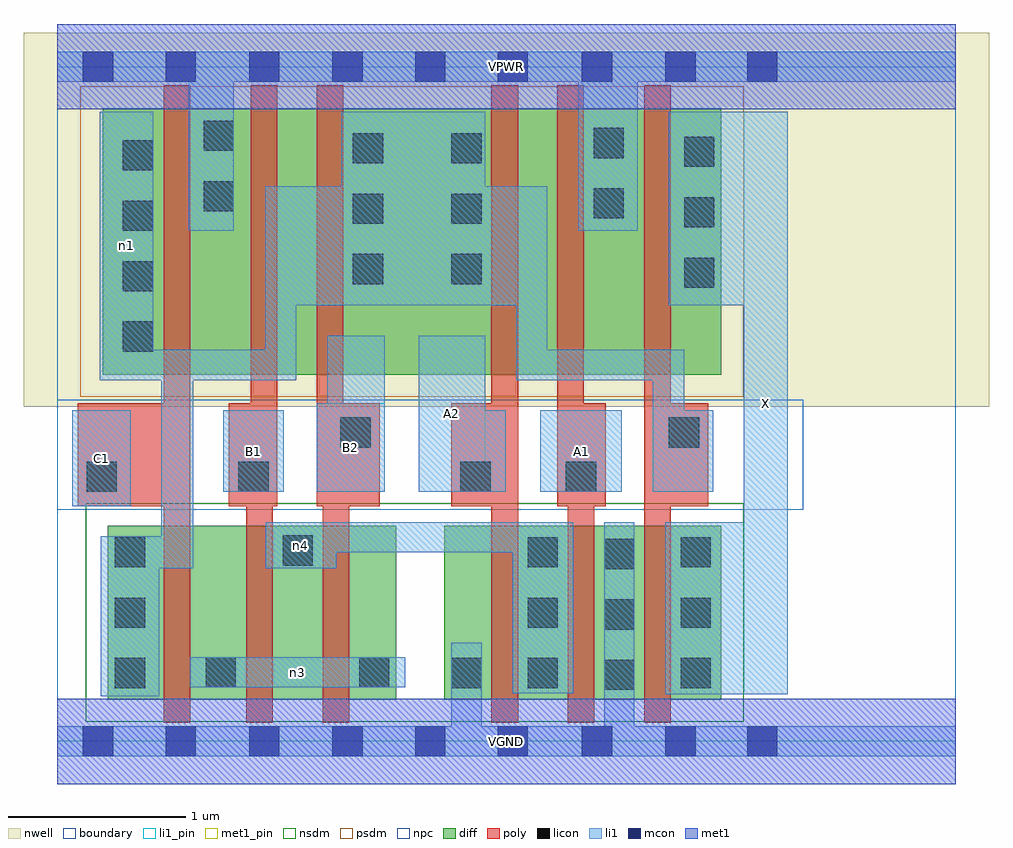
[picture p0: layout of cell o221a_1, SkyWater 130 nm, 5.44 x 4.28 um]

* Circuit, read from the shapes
.subckt o221a_1 A1 A2 B1 B2 C1 VGND VPWR X n1 n3 n4
XM1 n3 C1 n1 VSUBS sky130_fd_pr__nfet_01v8 w=0.98 l=0.15
XM2 n4 B1 n3 VSUBS sky130_fd_pr__nfet_01v8 w=0.98 l=0.15
XM3 n3 B2 n4 VSUBS sky130_fd_pr__nfet_01v8 w=0.98 l=0.15
XM4 n4 A2 VGND VSUBS sky130_fd_pr__nfet_01v8 w=0.98 l=0.15
XM5 VGND A1 n4 VSUBS sky130_fd_pr__nfet_01v8 w=0.98 l=0.15
XM6 X n1 VGND VSUBS sky130_fd_pr__nfet_01v8 w=0.98 l=0.15
XM7 VPWR C1 n1 n2 sky130_fd_pr__pfet_01v8 w=1.5 l=0.15
XM8 n5 B1 VPWR n2 sky130_fd_pr__pfet_01v8 w=1.5 l=0.15
XM9 n1 B2 n5 n2 sky130_fd_pr__pfet_01v8 w=1.5 l=0.15
XM10 n6 A2 n1 n2 sky130_fd_pr__pfet_01v8 w=1.5 l=0.15
XM11 VPWR A1 n6 n2 sky130_fd_pr__pfet_01v8 w=1.5 l=0.15
XM12 X n1 VPWR n2 sky130_fd_pr__pfet_01v8 w=1.5 l=0.15
.ends

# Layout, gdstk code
import gdstk
lib = gdstk.Library(unit=1e-6, precision=1e-09)
def R(c, l, rs):  # rectangles x0, y0, x1, y1
    for r in rs: c.add(gdstk.rectangle(r[:2], r[2:], *l))
def A(c, l, x, y, w, h, nx, ny, dx, dy):  # array of equal rectangles
    R(c, l, [(x+i*dx, y+j*dy, x+i*dx+w, y+j*dy+h) for i in range(nx) for j in range(ny)])
nwell = (64, 20)
diff = (65, 20)
poly = (66, 20)
licon = (66, 44)
li1_pin = (67, 16)
li1 = (67, 20)
mcon = (67, 44)
met1_pin = (68, 16)
met1 = (68, 20)
nsdm = (93, 44)
psdm = (94, 20)
npc = (95, 20)
boundary = (235, 4)

o221a_1 = lib.new_cell('o221a_1')
R(o221a_1, nwell, [(-0.19,1.885,5.25,3.99), (0,1.885,5.06,3.99)])
R(o221a_1, diff, [(0.285,0.235,1.91,1.215), (2.18,0.235,3.74,1.215), (0.255,2.065,3.74,3.565)])
R(o221a_1, poly, [(0.6,0.105,0.75,3.695), (1.065,0.105,1.215,1.905), (1.495,0.105,1.645,1.905), (2.445,0.105,2.595,3.695), (2.875,0.105,3.025,1.905), (3.305,0.105,3.455,3.695), (0.115,1.325,0.75,1.905), (0.965,1.325,1.24,1.905), (1.09,1.325,1.24,3.695), (1.46,1.325,1.61,3.695), (1.46,1.325,1.815,1.905), (2.22,1.325,2.595,1.905), (2.815,1.325,3.09,1.905), (2.815,1.325,2.965,3.695), (3.305,1.325,3.665,1.905)])
A(o221a_1, licon, 3.08, 0.29, 0.17, 0.17, 1, 3, 0, 0.34)
A(o221a_1, licon, 0.325, 0.3, 0.17, 0.17, 1, 3, 0, 0.34)
A(o221a_1, licon, 2.65, 0.3, 0.17, 0.17, 1, 3, 0, 0.34)
A(o221a_1, licon, 3.51, 0.3, 0.17, 0.17, 1, 3, 0, 0.34)
A(o221a_1, licon, 0.37, 2.195, 0.17, 0.17, 1, 4, 0, 0.34)
A(o221a_1, licon, 3.53, 2.555, 0.17, 0.17, 1, 3, 0, 0.34)
A(o221a_1, licon, 1.665, 2.575, 0.17, 0.17, 1, 3, 0, 0.34)
A(o221a_1, licon, 2.22, 2.575, 0.17, 0.17, 1, 3, 0, 0.34)
R(o221a_1, licon, [(2.22,0.3,2.39,0.47), (0.835,0.305,1.005,0.475), (1.7,0.305,1.87,0.475), (1.27,0.99,1.44,1.16), (0.165,1.405,0.335,1.575), (1.02,1.405,1.19,1.575), (2.27,1.405,2.44,1.575), (2.865,1.405,3.035,1.575), (1.595,1.655,1.765,1.825), (3.445,1.655,3.615,1.825), (3.02,2.945,3.19,3.115), (0.825,2.985,0.995,3.155), (3.02,3.285,3.19,3.455), (0.825,3.325,0.995,3.495)])
R(o221a_1, li1_pin, [(3.865,0.265,4.115,3.545), (0.085,1.325,0.415,1.865), (0.935,1.405,1.275,1.865), (1.46,1.405,1.845,1.905), (2.035,1.405,2.41,2.285), (2.72,1.405,3.18,1.865)])
R(o221a_1, li1, [(0,-0.085,5.06,0.085), (2.22,-0.085,2.39,0.555), (3.08,-0.085,3.25,1.235), (0.245,0.255,0.575,1.155), (3.425,0.265,4.115,1.235), (3.865,0.265,4.115,3.545), (2.565,0.27,2.905,1.235), (0.75,0.305,1.96,0.475), (0.245,0.975,0.765,1.155), (0.585,0.975,0.765,2.205), (1.175,0.975,1.57,1.235), (1.175,1.065,2.905,1.235), (0.085,1.325,0.415,1.865), (0.935,1.405,1.275,1.865), (1.46,1.405,1.845,1.905), (1.52,1.405,1.845,2.285), (2.035,1.405,2.41,2.285), (2.035,1.405,2.525,1.865), (2.72,1.405,3.18,1.865), (3.355,1.405,3.695,1.865), (3.355,1.405,3.53,2.205), (0.24,2.035,0.54,3.545), (0.24,2.035,1.345,2.205), (1.17,2.035,1.345,3.125), (2.585,2.035,2.76,3.125), (2.585,2.035,3.53,2.205), (1.17,2.455,2.76,3.125), (1.6,2.455,2.41,3.545), (3.445,2.455,4.115,3.545), (0.74,2.875,0.995,3.885), (2.935,2.875,3.27,3.885), (0,3.715,5.06,3.885)])
A(o221a_1, mcon, 0.61, -0.085, 0.17, 0.17, 3, 2, 0.47, 3.8)
R(o221a_1, mcon, [(0.145,-0.085,0.315,0.085), (2.015,-0.085,2.185,0.085), (2.48,-0.085,2.65,0.085), (2.955,-0.085,3.125,0.085), (3.425,-0.085,3.595,0.085), (3.885,-0.085,4.055,0.085), (0.145,3.715,0.315,3.885), (2.015,3.715,2.185,3.885), (2.48,3.715,2.65,3.885), (2.955,3.715,3.125,3.885), (3.425,3.715,3.595,3.885), (3.885,3.715,4.055,3.885)])
R(o221a_1, met1_pin, [(0,-0.24,5.06,0.24), (0,3.56,5.06,4.04)])
R(o221a_1, met1, [(0,-0.24,5.06,0.24), (0,3.56,5.06,4.04)])
R(o221a_1, nsdm, [(0.16,0.11,3.865,1.34)])
R(o221a_1, psdm, [(0.13,1.94,3.865,3.69)])
R(o221a_1, npc, [(0,1.305,4.2,1.925)])
R(o221a_1, boundary, [(0,0,5.06,3.8)])
o221a_1.add(gdstk.Label('A1', (2.95,1.635), layer=67, texttype=5))
o221a_1.add(gdstk.Label('A2', (2.222,1.845), layer=67, texttype=5))
o221a_1.add(gdstk.Label('B1', (1.105,1.635), layer=67, texttype=5))
o221a_1.add(gdstk.Label('B2', (1.652,1.655), layer=67, texttype=5))
o221a_1.add(gdstk.Label('C1', (0.25,1.595), layer=67, texttype=5))
o221a_1.add(gdstk.Label('X', (3.99,1.905), layer=67, texttype=5))
o221a_1.add(gdstk.Label('n3', (1.355,0.39), layer=67, texttype=5))
o221a_1.add(gdstk.Label('n4', (1.372,1.105), layer=67, texttype=5))
o221a_1.add(gdstk.Label('n1', (0.39,2.79), layer=67, texttype=5))
o221a_1.add(gdstk.Label('VPWR', (2.53,3.8), layer=68, texttype=5))
o221a_1.add(gdstk.Label('VGND', (2.53,0), layer=68, texttype=5))
o221a_1.add(gdstk.Label('A1', (2.95,1.635), layer=67, texttype=16))
o221a_1.add(gdstk.Label('A2', (2.222,1.845), layer=67, texttype=16))
o221a_1.add(gdstk.Label('B1', (1.105,1.635), layer=67, texttype=16))
o221a_1.add(gdstk.Label('B2', (1.652,1.655), layer=67, texttype=16))
o221a_1.add(gdstk.Label('C1', (0.25,1.595), layer=67, texttype=16))
o221a_1.add(gdstk.Label('X', (3.99,1.905), layer=67, texttype=16))
o221a_1.add(gdstk.Label('VPWR', (2.53,3.8), layer=68, texttype=16))
o221a_1.add(gdstk.Label('VGND', (2.53,0), layer=68, texttype=16))

lib.write_gds('o221a_1.gds')
